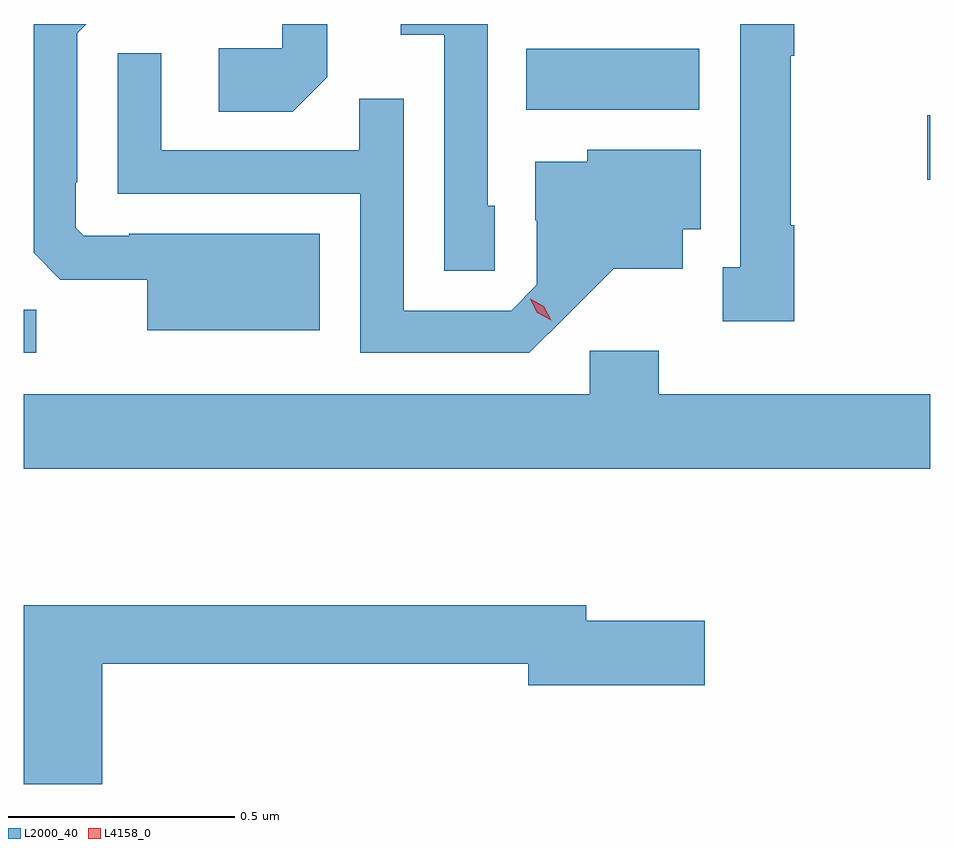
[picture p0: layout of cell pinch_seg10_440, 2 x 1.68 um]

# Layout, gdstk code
import gdstk
lib = gdstk.Library(unit=1e-6, precision=1e-09)
def R(c, l, rs):  # rectangles x0, y0, x1, y1
    for r in rs: c.add(gdstk.rectangle(r[:2], r[2:], *l))
def P(c, l, *ps):  # polygons
    for p in ps: c.add(gdstk.Polygon(p, *l))
L2000_40 = (2000, 40)
L4158_0 = (4158, 0)

pinch_seg10_440 = lib.new_cell('pinch_seg10_440')
R(pinch_seg10_440, L2000_40, [(372.023,1289.916,372.051,1290.011), (374.016,1290.298,374.023,1290.44), (373.132,1290.452,373.513,1290.586)])
P(pinch_seg10_440, L2000_40, [(372.676,1290.178),(372.256,1290.178),(372.256,1290.174),(372.156,1290.174),(372.138,1290.192),(372.138,1290.292),(372.141,1290.292),(372.141,1290.621),(372.161,1290.641),(372.045,1290.641),(372.045,1290.136),(372.104,1290.077),(372.296,1290.077),(372.296,1289.966),(372.676,1289.966)],
  [(372.693,1290.524),(372.693,1290.641),(372.594,1290.641),(372.594,1290.588),(372.453,1290.588),(372.453,1290.448),(372.617,1290.448)],
  [(373.723,1290.197),(373.715,1290.197),(373.715,1290.571),(373.723,1290.571),(373.723,1290.641),(373.604,1290.641),(373.604,1290.105),(373.565,1290.105),(373.565,1289.985),(373.723,1289.985)],
  [(373.062,1290.24),(373.047,1290.24),(373.047,1290.641),(372.855,1290.641),(372.855,1290.617),(372.951,1290.617),(372.951,1290.097),(373.062,1290.097)],
  [(373.222,1289.999),(373.325,1290.101),(373.477,1290.101),(373.477,1290.188),(373.516,1290.188),(373.516,1290.364),(373.266,1290.364),(373.266,1290.337),(373.151,1290.337),(373.151,1290.208),(373.155,1290.208),(373.155,1290.066),(373.098,1290.009),(372.861,1290.009),(372.861,1290.476),(372.763,1290.476),(372.763,1290.363),(372.327,1290.363),(372.327,1290.577),(372.231,1290.577),(372.231,1290.267),(372.765,1290.267),(372.765,1289.916),(373.138,1289.916)],
  [(374.023,1289.824),(373.424,1289.824),(373.424,1289.92),(373.272,1289.92),(373.272,1289.824),(372.023,1289.824),(372.023,1289.66),(374.023,1289.66)],
  [(372.197,1289.23),(373.136,1289.23),(373.136,1289.183),(373.525,1289.183),(373.525,1289.325),(373.264,1289.325),(373.264,1289.359),(372.023,1289.359),(372.023,1288.965),(372.197,1288.965)])
P(pinch_seg10_440, L4158_0, [(373.187,1289.988),(373.156,1290.004),(373.14,1290.034),(373.14,1290.035),(373.14,1290.035),(373.17,1290.019),(373.187,1289.988),(373.187,1289.988)])

lib.write_gds('pinch_seg10_440.gds')
